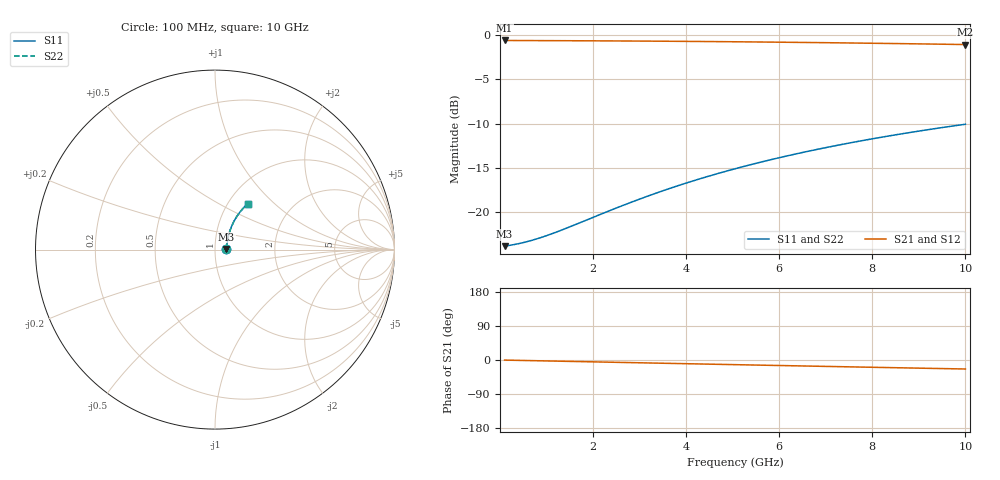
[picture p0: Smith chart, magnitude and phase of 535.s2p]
# Hz S RI R 50.00
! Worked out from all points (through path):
!   100 points, 100 MHz to 10 GHz, reference 50 ohm
!   highest |S21| = -0.57 dB at 100 MHz (marker M1); lowest = -1.0 dB at 10 GHz (marker M2)
!   group delay of S21, straight-line fit = 6.61 ps
!   lowest |S11| = -23.9 dB at 100 MHz (marker M3), VSWR 1.14, Z = 56.8 + j0.342 ohm
!   |S11| at or under -10 dB: start of sweep to end of sweep
!   |S22| runs from -23.9 to -10.1 dB; largest |S21 - S12| = 0
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1e8  0.0636 0.003  0.9364 -0.00402  0.9364 -0.00402  0.0636 0.003
3e8  0.0643 0.00898  0.9357 -0.012  0.9357 -0.012  0.0643 0.00898
5e8  0.065 0.015  0.935 -0.02  0.935 -0.02  0.065 0.015
8e8  0.0659 0.0239  0.934 -0.032  0.934 -0.032  0.0659 0.0239
1e9  0.0666 0.0298  0.9333 -0.04  0.9333 -0.04  0.0666 0.0298
1.2e9  0.0674 0.0357  0.9325 -0.048  0.9325 -0.048  0.0674 0.0357
1.8e9  0.0702 0.0534  0.9296 -0.0717  0.9296 -0.0717  0.0702 0.0534
2.3e9  0.0731 0.0679  0.9266 -0.0914  0.9266 -0.0914  0.0731 0.0679
2.7e9  0.0759 0.0795  0.9237 -0.107  0.9237 -0.107  0.0759 0.0795
3.1e9  0.079 0.0909  0.9205 -0.1225  0.9205 -0.1225  0.079 0.0909
3.4e9  0.0815 0.0993  0.9178 -0.134  0.9178 -0.134  0.0815 0.0993
3.8e9  0.0853 0.1105  0.9139 -0.1492  0.9139 -0.1492  0.0853 0.1105
4.2e9  0.0893 0.1215  0.9097 -0.1643  0.9097 -0.1643  0.0893 0.1215
4.6e9  0.0938 0.1323  0.905 -0.1792  0.905 -0.1792  0.0938 0.1323
5.1e9  0.0998 0.1455  0.8988 -0.1976  0.8988 -0.1976  0.0998 0.1455
5.5e9  0.105 0.1558  0.8934 -0.212  0.8934 -0.212  0.105 0.1558
5.9e9  0.1104 0.166  0.8876 -0.2262  0.8876 -0.2262  0.1104 0.166
6.7e9  0.1223 0.1855  0.8752 -0.254  0.8752 -0.254  0.1223 0.1855
7.5e9  0.1353 0.2041  0.8616 -0.2808  0.8616 -0.2808  0.1353 0.2041
8.4e9  0.1511 0.2236  0.845 -0.3096  0.845 -0.3096  0.1511 0.2236
9.2e9  0.1662 0.2398  0.8292 -0.3341  0.8292 -0.3341  0.1662 0.2398
1e10  0.182 0.2549  0.8125 -0.3574  0.8125 -0.3574  0.182 0.2549
